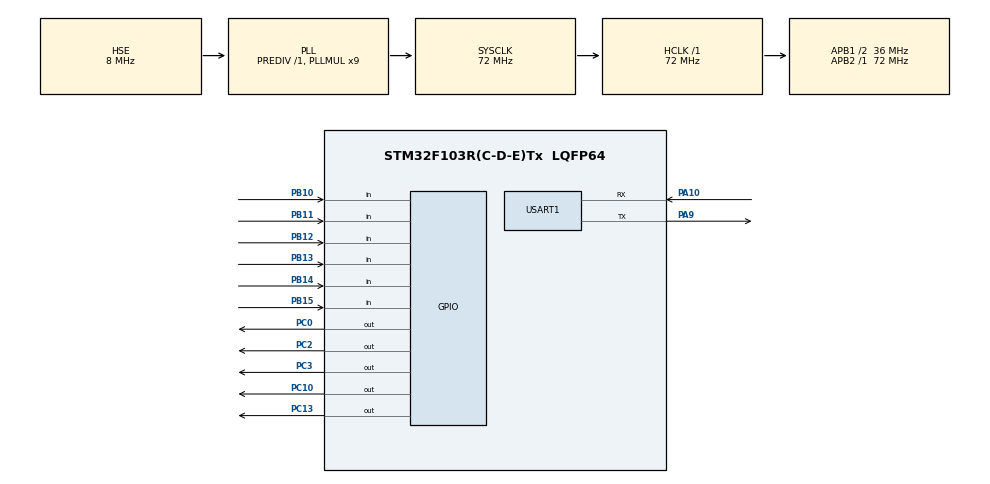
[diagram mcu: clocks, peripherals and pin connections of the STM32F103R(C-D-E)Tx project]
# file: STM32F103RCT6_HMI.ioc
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Mcu.Family=STM32F1
Mcu.Name=STM32F103R(C-D-E)Tx
Mcu.Package=LQFP64
NVIC.PriorityGroup=NVIC_PRIORITYGROUP_4
NVIC.USART1_IRQn=true\:0\:0\:false\:false\:true\:true
PA10.Mode=Asynchronous
PA10.Signal=USART1_RX
PA13.Mode=JTAG_5_pins
PA13.Signal=SYS_JTMS-SWDIO
PA14.Mode=JTAG_5_pins
PA14.Signal=SYS_JTCK-SWCLK
PA15.Mode=JTAG_5_pins
PA15.Signal=SYS_JTDI
PA9.Mode=Asynchronous
PA9.Signal=USART1_TX
PB10.GPIO_PuPd=GPIO_NOPULL
PB10.Signal=GPIO_Input
PB11.GPIO_PuPd=GPIO_NOPULL
PB11.Signal=GPIO_Input
PB12.Signal=GPIO_Input
PB13.Signal=GPIO_Input
PB14.Signal=GPIO_Input
PB15.Signal=GPIO_Input
PB3.Mode=JTAG_5_pins
PB3.Signal=SYS_JTDO-TRACESWO
PB4.Mode=JTAG_5_pins
PB4.Signal=SYS_NJTRST
PC0.Signal=GPIO_Output
PC10.Signal=GPIO_Output
PC13-TAMPER-RTC.Signal=GPIO_Output
PC2.Signal=GPIO_Output
PC3.Signal=GPIO_Output
PD0-OSC_IN.Mode=HSE-External-Oscillator
PD0-OSC_IN.Signal=RCC_OSC_IN
PD1-OSC_OUT.Mode=HSE-External-Oscillator
PD1-OSC_OUT.Signal=RCC_OSC_OUT
ProjectManager.HeapSize=0x200
ProjectManager.StackSize=0x400
ProjectManager.TargetToolchain=MDK-ARM V5
RCC.AHBFreq_Value=72000000
RCC.APB1CLKDivider=RCC_HCLK_DIV2
RCC.APB1Freq_Value=36000000
RCC.APB1TimFreq_Value=72000000
RCC.APB2Freq_Value=72000000
RCC.APB2TimFreq_Value=72000000
RCC.HCLKFreq_Value=72000000
RCC.PLLMUL=RCC_PLL_MUL9
RCC.PLLSourceVirtual=RCC_PLLSOURCE_HSE
RCC.SYSCLKFreq_VALUE=72000000
RCC.SYSCLKSource=RCC_SYSCLKSOURCE_PLLCLK
RCC.USBFreq_Value=72000000
USART1.VirtualMode=VM_ASYNC
board=custom

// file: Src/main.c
/**
  ******************************************************************************
  * @file           : main.c
  * @brief          : Main program body
  ******************************************************************************
  ** This notice applies to any and all portions of this file
  * that are not between comment pairs USER CODE BEGIN and
  * USER CODE END. Other portions of this file, whether
  * inserted by the user or by software development tools
  * are owned by their respective copyright owners.
  *
  * COPYRIGHT(c) 2018 STMicroelectronics
  *
  * Redistribution and use in source and binary forms, with or without modification,
  * are permitted provided that the following conditions are met:
  *   1. Redistributions of source code must retain the above copyright notice,
  *      this list of conditions and the following disclaimer.
  *   2. Redistributions in binary form must reproduce the above copyright notice,
  *      this list of conditions and the following disclaimer in the documentation
  *      and/or other materials provided with the distribution.
  *   3. Neither the name of STMicroelectronics nor the names of its contributors
  *      may be used to endorse or promote products derived from this software
  *      without specific prior written permission.
  *
  * THIS SOFTWARE IS PROVIDED BY THE COPYRIGHT HOLDERS AND CONTRIBUTORS "AS IS"
  * AND ANY EXPRESS OR IMPLIED WARRANTIES, INCLUDING, BUT NOT LIMITED TO, THE
  * IMPLIED WARRANTIES OF MERCHANTABILITY AND FITNESS FOR A PARTICULAR PURPOSE ARE
  * DISCLAIMED. IN NO EVENT SHALL THE COPYRIGHT HOLDER OR CONTRIBUTORS BE LIABLE
  * FOR ANY DIRECT, INDIRECT, INCIDENTAL, SPECIAL, EXEMPLARY, OR CONSEQUENTIAL
  * DAMAGES (INCLUDING, BUT NOT LIMITED TO, PROCUREMENT OF SUBSTITUTE GOODS OR
  * SERVICES; LOSS OF USE, DATA, OR PROFITS; OR BUSINESS INTERRUPTION) HOWEVER
  * CAUSED AND ON ANY THEORY OF LIABILITY, WHETHER IN CONTRACT, STRICT LIABILITY,
  * OR TORT (INCLUDING NEGLIGENCE OR OTHERWISE) ARISING IN ANY WAY OUT OF THE USE
  * OF THIS SOFTWARE, EVEN IF ADVISED OF THE POSSIBILITY OF SUCH DAMAGE.
  *
  ******************************************************************************
  */
#include "main.h"
#include "stm32f1xx_hal.h"

UART_HandleTypeDef huart1;

/* USER CODE BEGIN PV */
/* Private variables ---------------------------------------------------------*/

/* USER CODE END PV */

void SystemClock_Config(void);
static void MX_GPIO_Init(void);
static void MX_USART1_UART_Init(void);

void PLC_Data_Wr2HMI(uint16_t HMI_start_addr,uint16_t PLC_return_data_start_addr,uint8_t len);
void WRITE_HMI(uint16_t addr,uint8_t data1,uint8_t data2,uint8_t data3,uint8_t data4,uint8_t len);
void READ_HMI(uint16_t addr,uint8_t num);
void CLOSE_OPEN_IO(uint8_t hmi_key_value);
void SCAN_KEY(uint8_t io_key_value);
void delay_ms(uint16_t nms);

/* USER CODE BEGIN PFP */
/* Private function prototypes -----------------------------------------------*/

/* USER CODE END PFP */

uint8_t HMI_SEND_BUF[20] = {0};
uint8_t usart1_counter = 0;
uint8_t usart1_data;
uint8_t usart1_rxBuf[50];
uint8_t usart1_txBuf[50];
uint8_t HMI_HANDLEFLAG;

uint8_t LED_FLAG[5] = {0};
uint8_t HMI_FLAG[6] = {0};
uint8_t TEMP = 25;//上电温度
uint8_t VOLUME = 50;//上电音量
uint16_t PLAY = 0;//
uint8_t PLAY_N = 0;
uint8_t UP_POWER_FLAG=0;

int main(void)
{
	uint8_t i;

  /* MCU Configuration----------------------------------------------------------*/

  /* Reset of all peripherals, Initializes the Flash interface and the Systick. */
	HAL_Init();

  /* Configure the system clock */
  SystemClock_Config();

  /* Initialize all configured peripherals */
  MX_GPIO_Init();
  MX_USART1_UART_Init();
  /* Infinite loop */
  /* USER CODE BEGIN WHILE */
  while (1)
  {
		HAL_UART_Receive_IT(&huart1,&usart1_data,1);
		if(UP_POWER_FLAG == 0)
		{
			UP_POWER_FLAG = 1;
			HMI_SEND_BUF[0] = TEMP;
			PLC_Data_Wr2HMI(0X1110,0,1);   //用于显示  1：现在就发HMI_SEND_BUF[0] 只有一个数据 len是数据个数
			delay_ms(100);
			HMI_SEND_BUF[0] = VOLUME;
			PLC_Data_Wr2HMI(0X1210,0,1);//音量显示
			delay_ms(100);
			WRITE_HMI(0X00A1,VOLUME,0x00,0,0,2);//默认音量50
			delay_ms(100);
			for(i=0;i<5;i++)
			{
				HMI_SEND_BUF[i] = 0;
			}
			for(i=0;i<20;i++)
			{
				usart1_rxBuf[i] = 0x00;
			}
			HMI_HANDLEFLAG = 0;
		}
		if(PLAY ==1)
		{
			READ_HMI(0x00a1,1);
			delay_ms(100);
			if(HMI_HANDLEFLAG)
			{
				if(usart1_rxBuf[8] == 0)
				{
					PLAY = 0;
					for(i=0;i<50;i++)
					{
						usart1_rxBuf[i] = 0x00;
					}
					usart1_counter = 0;
				}
			}
		}
		SCAN_KEY(0);
		if(HMI_HANDLEFLAG)
		{
			HMI_HANDLEFLAG = 0;
			CLOSE_OPEN_IO(0x01);
			CLOSE_OPEN_IO(0x02);
			CLOSE_OPEN_IO(0x03);
			CLOSE_OPEN_IO(0x04);
			CLOSE_OPEN_IO(0x05);
			for(i=0;i<50;i++)
			{
				usart1_rxBuf[i] = 0x00;
			}
			usart1_counter = 0;
		}

  /* USER CODE END WHILE */

  }

}

void PLC_Data_Wr2HMI(uint16_t HMI_start_addr,uint16_t PLC_return_data_start_addr,uint8_t len)
{
	uint8_t i;
	usart1_txBuf[0]=0x5a;
	usart1_txBuf[1]=0xa5;
	usart1_txBuf[2]=len*2+3;
	usart1_txBuf[3]=0x82;
	usart1_txBuf[4]=((uint8_t)(HMI_start_addr>>8))&0XFF;
	usart1_txBuf[5]=(uint8_t)(HMI_start_addr&0XFF);     //格式数据
	for(i=0;i<len;i++)                               //有效数据
	{
		usart1_txBuf[i*2+6]=((HMI_SEND_BUF[i+PLC_return_data_start_addr] >>8)&0xff);
		usart1_txBuf[i*2+7]=(HMI_SEND_BUF[i+PLC_return_data_start_addr] &0xff);
	}
	HAL_UART_Transmit(&huart1, usart1_txBuf, len*2+6, 10);
}

void WRITE_HMI(uint16_t addr,uint8_t data1,uint8_t data2,uint8_t data3,uint8_t data4,uint8_t len)
{
		usart1_txBuf[0]=0x5a;
		usart1_txBuf[1]=0xa5;
		usart1_txBuf[2]=len*2+3;
		usart1_txBuf[3]=0x82;
		usart1_txBuf[4]=(uint8_t)((addr>>8)&0xff);
		usart1_txBuf[5]=(uint8_t)(addr&0xff);
		usart1_txBuf[6]=data1;
		usart1_txBuf[7]=data2;
		usart1_txBuf[8]=data3;
		usart1_txBuf[9]=data4;
		HAL_UART_Transmit(&huart1, usart1_txBuf, len*2+6 , 20);
}

void READ_HMI(uint16_t addr,uint8_t num)
{
		usart1_txBuf[0]=0x5a;
		usart1_txBuf[1]=0xa5;
		usart1_txBuf[2]=0x04;
		usart1_txBuf[3]=0x83;
		usart1_txBuf[4]=(uint8_t)((addr>>8)&0xff);
		usart1_txBuf[5]=(uint8_t)(addr&0xff);
		usart1_txBuf[6]=num;

		HAL_UART_Transmit(&huart1, usart1_txBuf, 7 , 20);
}

void CLOSE_OPEN_IO(uint8_t hmi_key_value)
{
	uint8_t i;
	if(usart1_rxBuf[7] == 0x00&&usart1_rxBuf[8] == hmi_key_value)//LED1
	{
		if(LED_FLAG[hmi_key_value-1] == 0)
		{
		  if(hmi_key_value == 0x01)
			{
				HAL_GPIO_WritePin(GPIOC, GPIO_PIN_10, GPIO_PIN_RESET);
			}
			if(hmi_key_value == 0x02)
			{
				HAL_GPIO_WritePin(GPIOC, GPIO_PIN_3, GPIO_PIN_RESET);
			}
			if(hmi_key_value == 0x03)
			{
				HAL_GPIO_WritePin(GPIOC, GPIO_PIN_2, GPIO_PIN_RESET);
			}
			if(hmi_key_value == 0x04)
			{
				HAL_GPIO_WritePin(GPIOC, GPIO_PIN_0, GPIO_PIN_RESET);
			}
			if(hmi_key_value == 0x05)
			{
				HAL_GPIO_WritePin(GPIOC, GPIO_PIN_13, GPIO_PIN_RESET);
			}
			LED_FLAG[hmi_key_value-1] = 1;
		}
		else if(LED_FLAG[hmi_key_value-1] == 1)
		{
		  if(hmi_key_value == 0x01)
			{
				HAL_GPIO_WritePin(GPIOC, GPIO_PIN_10, GPIO_PIN_SET);
			}
			if(hmi_key_value == 0x02)
			{
				HAL_GPIO_WritePin(GPIOC, GPIO_PIN_3, GPIO_PIN_SET);
			}
			if(hmi_key_value == 0x03)
			{
				HAL_GPIO_WritePin(GPIOC, GPIO_PIN_2, GPIO_PIN_SET);
			}
			if(hmi_key_value == 0x04)
			{
				HAL_GPIO_WritePin(GPIOC, GPIO_PIN_0, GPIO_PIN_SET);
			}
			if(hmi_key_value == 0x05)
			{
				HAL_GPIO_WritePin(GPIOC, GPIO_PIN_13, GPIO_PIN_SET);
			}
			LED_FLAG[hmi_key_value-1] = 0;
		}
		for(i=0;i<9;i++)
		{
			usart1_rxBuf[i] = 0xff;
		}
		for(i=0;i<5;i++)
		{
			HMI_SEND_BUF[i] = LED_FLAG[i];
		}
		PLC_Data_Wr2HMI(0X1000,0,5);
		delay_ms(50);
	}
}

void SCAN_KEY(uint8_t io_key_value)
{
	uint8_t i;
		if(HAL_GPIO_ReadPin(GPIOB,GPIO_PIN_10)==GPIO_PIN_RESET)//KEY1,屏幕开关
		{
			delay_ms(150);//去抖动
			if(HAL_GPIO_ReadPin(GPIOB,GPIO_PIN_10)==GPIO_PIN_RESET)//KEY1,屏幕开关
			{
				if(HMI_FLAG[0] == 0)
				{
					WRITE_HMI(0X82,0x00,0x00,0,0,1);//关屏幕
					HMI_FLAG[0] = 1;
				}else if(HMI_FLAG[0] == 1)
				{
					WRITE_HMI(0X82,0X64,0x00,0,0,1);//开屏幕
					HMI_FLAG[0] = 0;
				}
			}
			for(i=0;i<50;i++)
			{
				usart1_rxBuf[i] = 0x00;
			}
			usart1_counter = 0;
		}
		if(HAL_GPIO_ReadPin(GPIOB,GPIO_PIN_11)==GPIO_PIN_RESET)//KEY2，温度+
		{
			delay_ms(150);//去抖动
			if(HAL_GPIO_ReadPin(GPIOB,GPIO_PIN_11)==GPIO_PIN_RESET)
			{
				TEMP += 1;
				HMI_SEND_BUF[0] = TEMP;
				PLC_Data_Wr2HMI(0X1110,0,1);
			}
			for(i=0;i<50;i++)
			{
				usart1_rxBuf[i] = 0x00;
			}
			usart1_counter = 0;
		}
		if(HAL_GPIO_ReadPin(GPIOB,GPIO_PIN_12)==GPIO_PIN_RESET)//KEY3，温度-
		{
			delay_ms(150);//去抖动
			if(HAL_GPIO_ReadPin(GPIOB,GPIO_PIN_12)==GPIO_PIN_RESET)
			{
				TEMP -= 1;
				HMI_SEND_BUF[0] = TEMP;
				PLC_Data_Wr2HMI(0X1110,0,1);
			}
			for(i=0;i<50;i++)
			{
				usart1_rxBuf[i] = 0x00;
			}
			usart1_counter = 0;
		}
		if(HAL_GPIO_ReadPin(GPIOB,GPIO_PIN_13)==GPIO_PIN_RESET)//KEY4,播放停止/开始
		{
			delay_ms(150);//去抖动
			if(HAL_GPIO_ReadPin(GPIOB,GPIO_PIN_13)==GPIO_PIN_RESET)
			{
				if(PLAY == 0)
				{
					WRITE_HMI(0X00A0,0X00,0x0E,0,0,1);
					PLAY =1;//播放状态
				}else if(PLAY == 1)
				{
					WRITE_HMI(0X00A0,0X00,0x00,0,0,1);
					PLAY =0;//暂停状态
				}
			}
			for(i=0;i<50;i++)
			{
				usart1_rxBuf[i] = 0x00;
			}
			usart1_counter = 0;
		}
		if(HAL_GPIO_ReadPin(GPIOB,GPIO_PIN_14)==GPIO_PIN_RESET)//KEY5，音量+
		{
			delay_ms(150);//去抖动
			if(HAL_GPIO_ReadPin(GPIOB,GPIO_PIN_14)==GPIO_PIN_RESET)
			{
				if(VOLUME<250)
				{
					VOLUME += 10;
					WRITE_HMI(0X00A1,VOLUME,0x00,0,0,2);//音量加10
					delay_ms(50);
					HMI_SEND_BUF[0] = VOLUME;
					PLC_Data_Wr2HMI(0X1210,0,1);//音量显示
					delay_ms(50);
				}
			}
			for(i=0;i<50;i++)
			{
				usart1_rxBuf[i] = 0x00;
			}
			usart1_counter = 0;
		}
		if(HAL_GPIO_ReadPin(GPIOB,GPIO_PIN_15)==GPIO_PIN_RESET)//KEY6，音量-
		{
			delay_ms(150);//去抖动
			if(HAL_GPIO_ReadPin(GPIOB,GPIO_PIN_15)==GPIO_PIN_RESET)
			{
				if(VOLUME >= 10)
				{
					VOLUME -= 10;
					WRITE_HMI(0X00A1,VOLUME,0x00,0,0,2);//音量减10
					delay_ms(50);
					HMI_SEND_BUF[0] = VOLUME;
					PLC_Data_Wr2HMI(0X1210,0,1);//音量显示
					delay_ms(50);
				}
			}
			for(i=0;i<50;i++)
			{
				usart1_rxBuf[i] = 0x00;
			}
			usart1_counter = 0;
		}

}

void delay_ms(uint16_t nms)
{
	uint16_t i,j;
	for(i=0;i<nms;i++)
	{
		for(j=0;j<10000;j++)
		{
			;
		}
	}
}
void SystemClock_Config(void)
{

  RCC_OscInitTypeDef RCC_OscInitStruct;
  RCC_ClkInitTypeDef RCC_ClkInitStruct;

    /**Initializes the CPU, AHB and APB busses clocks
    */
  RCC_OscInitStruct.OscillatorType = RCC_OSCILLATORTYPE_HSE;
  RCC_OscInitStruct.HSEState = RCC_HSE_ON;
  RCC_OscInitStruct.HSEPredivValue = RCC_HSE_PREDIV_DIV1;
  RCC_OscInitStruct.HSIState = RCC_HSI_ON;
  RCC_OscInitStruct.PLL.PLLState = RCC_PLL_ON;
  RCC_OscInitStruct.PLL.PLLSource = RCC_PLLSOURCE_HSE;
  RCC_OscInitStruct.PLL.PLLMUL = RCC_PLL_MUL9;
  if (HAL_RCC_OscConfig(&RCC_OscInitStruct) != HAL_OK)
  {
    _Error_Handler(__FILE__, __LINE__);
  }

    /**Initializes the CPU, AHB and APB busses clocks
    */
  RCC_ClkInitStruct.ClockType = RCC_CLOCKTYPE_HCLK|RCC_CLOCKTYPE_SYSCLK
                              |RCC_CLOCKTYPE_PCLK1|RCC_CLOCKTYPE_PCLK2;
  RCC_ClkInitStruct.SYSCLKSource = RCC_SYSCLKSOURCE_PLLCLK;
  RCC_ClkInitStruct.AHBCLKDivider = RCC_SYSCLK_DIV1;
  RCC_ClkInitStruct.APB1CLKDivider = RCC_HCLK_DIV2;
  RCC_ClkInitStruct.APB2CLKDivider = RCC_HCLK_DIV1;

  if (HAL_RCC_ClockConfig(&RCC_ClkInitStruct, FLASH_LATENCY_2) != HAL_OK)
  {
    _Error_Handler(__FILE__, __LINE__);
  }

    /**Configure the Systick interrupt time
    */
  HAL_SYSTICK_Config(HAL_RCC_GetHCLKFreq()/1000);

    /**Configure the Systick
    */
  HAL_SYSTICK_CLKSourceConfig(SYSTICK_CLKSOURCE_HCLK);

  /* SysTick_IRQn interrupt configuration */
  HAL_NVIC_SetPriority(SysTick_IRQn, 0, 0);
}

/* USART1 init function */
static void MX_USART1_UART_Init(void)
{

  huart1.Instance = USART1;
  huart1.Init.BaudRate = 115200;
  huart1.Init.WordLength = UART_WORDLENGTH_8B;
  huart1.Init.StopBits = UART_STOPBITS_1;
  huart1.Init.Parity = UART_PARITY_NONE;
  huart1.Init.Mode = UART_MODE_TX_RX;
  huart1.Init.HwFlowCtl = UART_HWCONTROL_NONE;
  huart1.Init.OverSampling = UART_OVERSAMPLING_16;
  if (HAL_UART_Init(&huart1) != HAL_OK)
  {
    _Error_Handler(__FILE__, __LINE__);
  }

}

/** Configure pins as
        * Analog
        * Input
        * Output
        * EVENT_OUT
        * EXTI
*/
static void MX_GPIO_Init(void)
{

  GPIO_InitTypeDef GPIO_InitStruct;

  /* GPIO Ports Clock Enable */
  __HAL_RCC_GPIOC_CLK_ENABLE();
  __HAL_RCC_GPIOD_CLK_ENABLE();
  __HAL_RCC_GPIOB_CLK_ENABLE();
  __HAL_RCC_GPIOA_CLK_ENABLE();

  /*Configure GPIO pin Output Level */
  HAL_GPIO_WritePin(GPIOC, GPIO_PIN_13|GPIO_PIN_0|GPIO_PIN_2|GPIO_PIN_3
                          |GPIO_PIN_10, GPIO_PIN_SET);

  /*Configure GPIO pins : PC13 PC0 PC2 PC3
                           PC10 */
  GPIO_InitStruct.Pin = GPIO_PIN_13|GPIO_PIN_0|GPIO_PIN_2|GPIO_PIN_3
                          |GPIO_PIN_10;
  GPIO_InitStruct.Mode = GPIO_MODE_OUTPUT_PP;
  GPIO_InitStruct.Pull = GPIO_NOPULL;
  GPIO_InitStruct.Speed = GPIO_SPEED_FREQ_LOW;
  HAL_GPIO_Init(GPIOC, &GPIO_InitStruct);

  /*Configure GPIO pins : PB10 PB11 PB12 PB13
                           PB14 PB15 */
  GPIO_InitStruct.Pin = GPIO_PIN_10|GPIO_PIN_11|GPIO_PIN_12|GPIO_PIN_13
                          |GPIO_PIN_14|GPIO_PIN_15;
  GPIO_InitStruct.Mode = GPIO_MODE_INPUT;
  GPIO_InitStruct.Pull = GPIO_NOPULL;
  HAL_GPIO_Init(GPIOB, &GPIO_InitStruct);

}

void _Error_Handler(char *file, int line)
{
  while(1)
  {
  }
}

/************************ (C) COPYRIGHT STMicroelectronics *****END OF FILE****/
